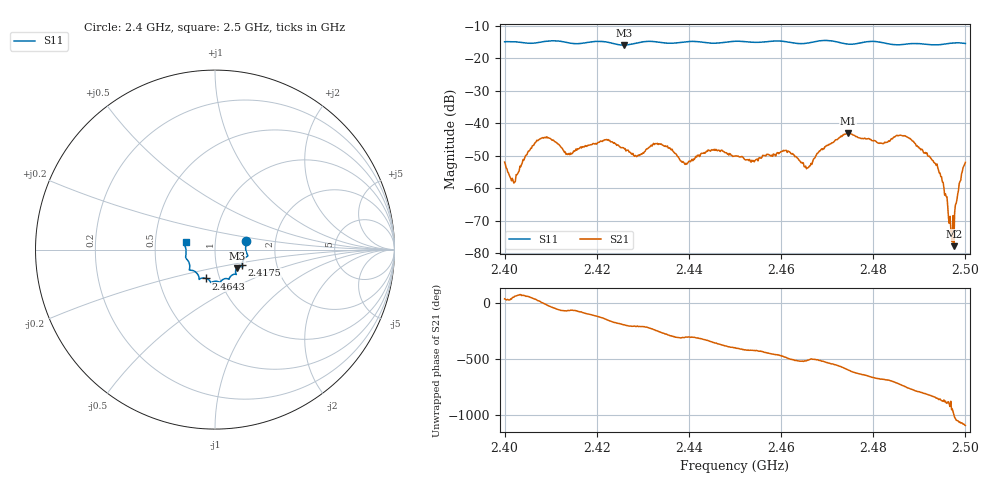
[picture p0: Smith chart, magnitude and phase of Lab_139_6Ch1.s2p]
# Hz S RI R
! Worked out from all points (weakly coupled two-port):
!   601 points, 2.4 GHz to 2.5 GHz, reference 50 ohm
!   highest |S21| = -43.02 dB at 2.4745 GHz (marker M1); lowest = -77.8 dB at 2.4975 GHz (marker M2)
!   lowest |S11| = -15.9 dB at 2.4258 GHz (marker M3), VSWR 1.38, Z = 62.3 - j13.3 ohm
!   |S11| at or under -10 dB: start of sweep to end of sweep
!   S12 and S22 are empty: the file has one direction only
!   S11 on the Smith chart (normalised r, x): 2.4 GHz: 1.41, +0.14; 2.4175 GHz: 1.34, -0.23; 2.4643 GHz: 0.86, -0.29; 2.5 GHz: 0.72, +0.06
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2.4e9  0.1731 0.0487  0.00199 0.00158  0 0  0 0
2.401833e9  0.1758 0.0414  0.000809 0.00105  0 0  0 0
2.407833e9  0.1767 -0.0196  0.0057 0.00116  0 0  0 0
2.416667e9  0.153 -0.0743  0.000875 -0.00409  0 0  0 0
2.4175e9  0.1521 -0.0837  -5.78e-05 -0.00456  0 0  0 0
2.425833e9  0.1216 -0.1038  -0.00409 0.001  0 0  0 0
2.433333e9  0.1129 -0.1372  -0.00147 0.0045  0 0  0 0
2.439333e9  0.0798 -0.1609  0.00131 0.00206  0 0  0 0
2.444667e9  0.0583 -0.1613  0.00358 0.00109  0 0  0 0
2.45e9  0.0288 -0.1809  0.0025 -0.00192  0 0  0 0
2.461e9  -0.0264 -0.1785  -0.00214 -0.00319  0 0  0 0
2.464333e9  -0.0498 -0.1609  -0.00231 -0.000916  0 0  0 0
2.466667e9  -0.0759 -0.1594  -0.00178 -0.00152  0 0  0 0
2.4745e9  -0.1019 -0.1308  -0.00393 0.00587  0 0  0 0
2.483333e9  -0.1406 -0.0902  0.00466 0.00272  0 0  0 0
2.487167e9  -0.1564 -0.0551  0.00538 -0.0032  0 0  0 0
2.493333e9  -0.161 -0.0102  -0.00118 -0.00216  0 0  0 0
2.4955e9  -0.1653 0.0151  -0.000752 -0.000241  0 0  0 0
2.497e9  -0.1696 0.0272  -0.000109 0.000142  0 0  0 0
2.4975e9  -0.1705 0.0297  1.23e-05 0.000129  0 0  0 0
2.498333e9  -0.1703 0.034  0.000717 0.000391  0 0  0 0
2.5e9  -0.1639 0.0428  0.00245 -0.00058  0 0  0 0
